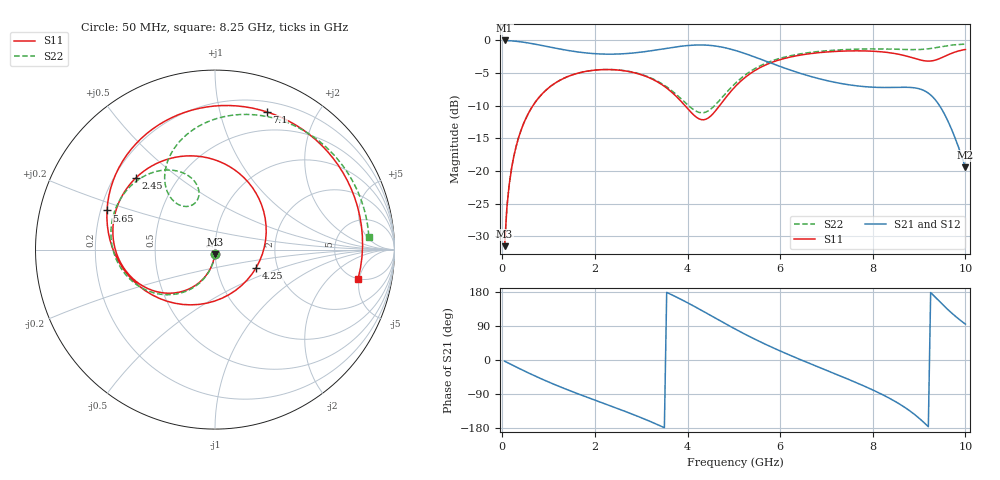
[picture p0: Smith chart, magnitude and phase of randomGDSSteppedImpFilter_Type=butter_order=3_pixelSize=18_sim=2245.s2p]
! freq	dB(S11)	phase(S11)	dB(S12)	phase(S12)
!  dB(S21)	phase(S21)	dB(S22)	phase(S22)
!S-par simulation data
#  GHz  S  DB  R 50
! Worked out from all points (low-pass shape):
!   200 points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, 50 MHz to 10 GHz, reference 50 ohm
!   highest |S21| = -0.01 dB at 50 MHz (marker M1); lowest = -19.5 dB at 10 GHz (marker M2)
!   |S21| within 3 dB of the highest: start of sweep to 5.626 GHz
!   lowest |S11| = -31.5 dB at 50 MHz (marker M3), VSWR 1.05, Z = 49.8 - j2.64 ohm
!   |S11| at or under -10 dB: start of sweep to 661.2 MHz; 3.945 GHz to 4.692 GHz (747 MHz wide, 17.3 % of centre)
!   |S22| runs from -31.5 to -0.6 dB; largest |S21 - S12| = 0
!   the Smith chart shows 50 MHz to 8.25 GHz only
!   S11 on the Smith chart (normalised r, x): 50 MHz: 1.00, -0.05; 2.45 GHz: 0.29, +0.36; 4.25 GHz: 1.55, -0.33; 5.65 GHz: 0.23, +0.17; 7.1 GHz: 0.30, +1.40; 8.25 GHz: 4.94, -4.82
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0.05  -31.53 -93.3  -0.01 -3.1  -0.01 -3.1  -31.53 -93.2
0.2  -19.60 -103.1  -0.07 -12.4  -0.07 -12.4  -19.60 -102.6
0.5  -12.09 -121.5  -0.32 -30.4  -0.32 -30.4  -12.09 -120.3
1.05  -6.99 -152.6  -1.05 -60.7  -1.05 -60.7  -6.99 -149.9
1.75  -4.82 172.1  -1.87 -94.6  -1.87 -94.6  -4.82 177.8
2.45  -4.51 137.6  -2.10 -126.3  -2.10 -126.3  -4.50 149.2
3.4  -6.56 80.1  -1.38 -173.2  -1.38 -173.2  -6.44 114.4
4.25  -12.02 -23.8  -0.70 134.6  -0.70 134.6  -11.03 114.1
4.65  -10.39 -99.0  -0.91 107.2  -0.91 107.2  -9.50 129.8
5.05  -6.93 -149.4  -1.57 80.3  -1.57 80.3  -6.45 126.1
5.65  -3.87 160.1  -3.07 43.4  -3.07 43.4  -3.62 104.0
6.7  -1.98 93.4  -5.60 -12.3  -5.60 -12.3  -1.80 60.9
7.1  -1.73 69.4  -6.30 -32.2  -6.30 -32.2  -1.53 45.5
7.75  -1.60 27.6  -7.03 -65.4  -7.03 -65.4  -1.32 21.8
8.25  -1.79 -11.7  -7.22 -93.9  -7.22 -93.9  -1.31 4.7
8.35  -1.87 -21.1  -7.21 -100.3  -7.21 -100.3  -1.32 1.5
8.9  -2.75 -92.3  -7.26 -143.5  -7.26 -143.5  -1.41 -14.6
9.1  -3.11 -131.7  -7.66 -164.5  -7.66 -164.5  -1.36 -19.7
9.3  -3.10 -178.6  -8.70 171.8  -8.70 171.8  -1.18 -24.7
9.45  -2.76 145.4  -10.08 153.3  -10.08 153.3  -1.00 -28.9
9.65  -2.13 102.1  -12.78 129.8  -12.78 129.8  -0.76 -35.4
10  -1.39 44.4  -19.47 94.6  -19.47 94.6  -0.58 -47.3
